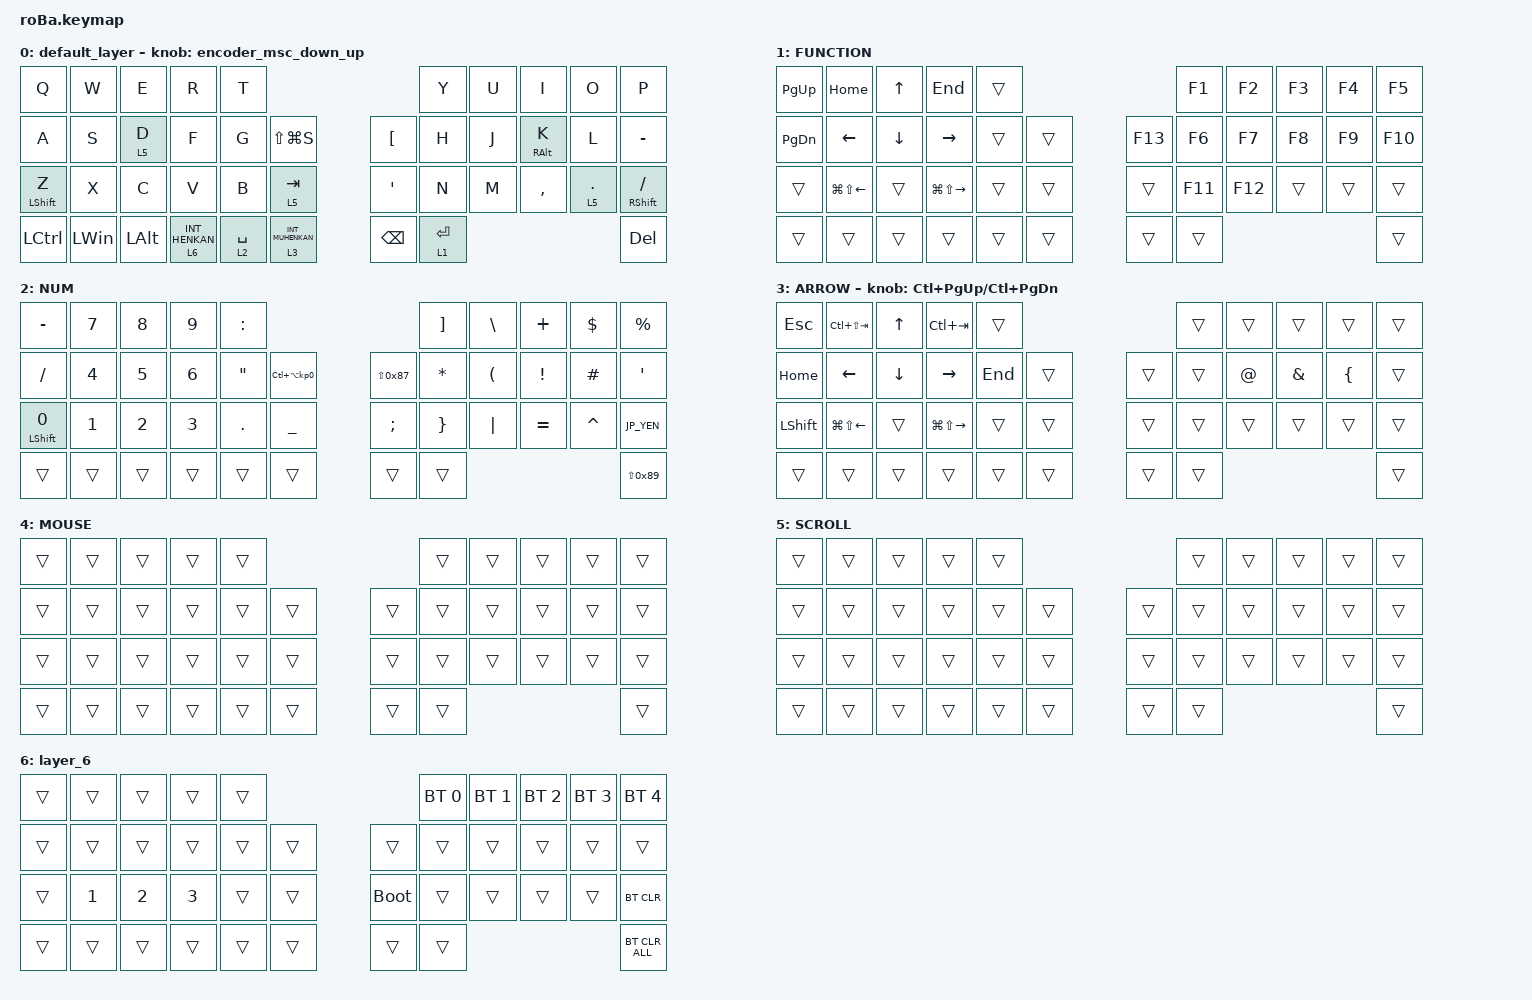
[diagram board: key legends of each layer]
#include <behaviors.dtsi>
#include <dt-bindings/zmk/bt.h>
#include <dt-bindings/zmk/keys.h>
#include <dt-bindings/zmk/pointing.h>

// JPキーボードの設定で利用するためのキー変換

#define JP_DQUOTE       AT                // "
#define JP_AMPERSAND    CARET             // &
#define JP_QUOTE        AMPERSAND         // '
#define JP_EQUAL        UNDER             // =
#define JP_CARET        EQUAL             // ^
#define JP_YEN          0x89              // ¥
#define JP_PLUS         COLON             // +
#define JP_TILDE        PLUS              // ~
#define JP_PIPE         LS(0x89)          // |
#define JP_AT           LEFT_BRACKET      // @
#define JP_COLON        SINGLE_QUOTE      // :
#define JP_ASTERISK     DOUBLE_QUOTES     // *
#define JP_BACKQUOTE    LEFT_BRACE        // `
#define JP_UNDERSCORE   LS(0x87)          // _
#define JP_LBRACKET     RIGHT_BRACKET     // [
#define JP_RBRACKET     BACKSLASH         // ]
#define JP_LPAREN       ASTERISK          // (
#define JP_RPAREN       LEFT_PARENTHESIS  // )
#define JP_LBRACE       RIGHT_BRACE       // {
#define JP_RBRACE       PIPE              // }
#define JP_KANA         LANGUAGE_1        // かな
#define JP_EISU         LANGUAGE_2        // 英数
#define JP_HANZEN       GRAVE             // 半角/全角

// ロータリーエンコーダでスクロール；スクロール量変更の定義を追記

#define ZMK_POINTING_DEFAULT_SCRL_VAL 80

&mt {
    flavor = "balanced";
    quick-tap-ms = <0>;
};

&trackball {
    automouse-layer = <4>;
    scroll-layers = <5>;

    // arrows {
    //     layers = <3>;
    //     bindings =
    //         <&kp RIGHT_ARROW>,
    //         <&kp LEFT_ARROW>,
    //         <&kp UP_ARROW>,
    //         <&kp DOWN_ARROW>;
    //     tick = <10>;
    //     wait-ms = <5>;
    //     tap-ms = <5>;
    // };
};

/ {
    combos {
        compatible = "zmk,combos";

        tab {
            bindings = <&kp TAB>;
            key-positions = <13 12>;
        };

        shift_tab {
            bindings = <&kp LA(TAB)>;
            key-positions = <12 11 13>;
        };

        muhennkann {
            bindings = <&to_layer_0 INT_MUHENKAN>;
            key-positions = <12 13>;
        };

        eq {
            bindings = <&kp EQUAL>;
            key-positions = <24 25>;
        };

        esc {
            bindings = <&kp ESC>;
            key-positions = <0 1>;
        };

        f10 {
            bindings = <&kp F10>;
            key-positions = <20 21>;
        };

        f9 {
            bindings = <&kp F9>;
            key-positions = <8 9>;
        };

        f2 {
            bindings = <&kp F2>;
            key-positions = <32 33>;
        };

        MB1_LeftClick {
            bindings = <&mkp MB1>;
            key-positions = <19 18>;
        };

        MB2_RightClick {
            bindings = <&mkp MB2>;
            key-positions = <19 20>;
        };

        MB3_MiddleClick {
            bindings = <&mkp MB3>;
            key-positions = <18 20>;
        };
    };

    macros {
        to_layer_0: to_layer_0 {
            compatible = "zmk,behavior-macro-one-param";
            #binding-cells = <1>;
            bindings = <&to 0 &macro_param_1to1 &kp MACRO_PLACEHOLDER>;
            label = "TO_LAYER_0";
        };
    };

    behaviors {
        lt_to_layer_0: lt_to_layer_0 {
            compatible = "zmk,behavior-hold-tap";
            label = "LAYER_TAP_TO_0";
            bindings = <&mo>, <&to_layer_0>;

            #binding-cells = <2>;
            tapping-term-ms = <200>;
        };

        //ロータリーエンコーダでスクロール；スクロール動作の定義；スクロール方向を逆にしたい場合は <&msc SCRL_DOWN> と <&msc SCRL_UP> を入れ替え

        encoder_msc_down_up: encoder_msc_down_up {
            compatible = "zmk,behavior-sensor-rotate";
            label = "ENCODER_MSC_DOWN_UP";
            #sensor-binding-cells = <0>;
            bindings = <&msc SCRL_DOWN>, <&msc SCRL_UP>;

            tap-ms = <20>;
        };
    };

    keymap {
        compatible = "zmk,keymap";

        default_layer {
            bindings = <
&kp Q             &kp W         &kp E         &kp R                        &kp T                                                          &kp Y        &kp U  &kp I            &kp O      &kp P
&kp A             &kp S         &lt 5 D       &kp F                        &kp G        &kp LS(LG(S))                      &kp JP_AT      &kp H        &kp J  &mt RIGHT_ALT K  &kp L      &kp MINUS
&mt LEFT_SHIFT Z  &kp X         &kp C         &kp V                        &kp B        &lt 5 TAB                          &kp JP_COLON   &kp N        &kp M  &kp COMMA        &lt 5 DOT  &mt RIGHT_SHIFT SLASH
&kp LCTRL         &kp LEFT_WIN  &kp LEFT_ALT  &lt_to_layer_0 6 INT_HENKAN  &lt 2 SPACE  &lt_to_layer_0 3 INT_MUHENKAN      &kp BACKSPACE  &lt 1 ENTER                                     &kp DEL
            >;

            //元から定義されていたロータリーエンコーダでPG_UP/DWNをコメントアウト
            //sensor-bindings = <&inc_dec_kp PG_UP PAGE_DOWN>;
            //ロータリーエンコーダでスクロール；レイヤへ配置

            sensor-bindings = <&encoder_msc_down_up>;
        };

        FUNCTION {
            bindings = <
&kp PAGE_UP    &kp HOME                &kp UP_ARROW    &kp END                  &trans                       &kp F1   &kp F2   &kp F3  &kp F4  &kp F5
&kp PAGE_DOWN  &kp LEFT_ARROW          &kp DOWN_ARROW  &kp RIGHT_ARROW          &trans  &trans      &kp F13  &kp F6   &kp F7   &kp F8  &kp F9  &kp F10
&trans         &kp LG(LS(LEFT_ARROW))  &trans          &kp LG(LS(RIGHT_ARROW))  &trans  &trans      &trans   &kp F11  &kp F12  &trans  &trans  &trans
&trans         &trans                  &trans          &trans                   &trans  &trans      &trans   &trans                            &trans
            >;
        };

        NUM {
            //一部を無理やりJP配列コードに置き換え

            bindings = <
&kp MINUS          &kp N7        &kp N8        &kp N9        &kp COLON                                                          &kp RIGHT_BRACKET  &kp BACKSLASH         &kp PLUS         &kp DOLLAR  &kp PERCENT
&kp SLASH          &kp NUMBER_4  &kp N5        &kp NUMBER_6  &kp DOUBLE_QUOTES  &kp LC(LA(KP_NUMBER_0))      &kp JP_UNDERSCORE  &kp ASTERISK       &kp LEFT_PARENTHESIS  &kp EXCLAMATION  &kp HASH    &kp SQT
&mt LEFT_SHIFT N0  &kp NUMBER_1  &kp NUMBER_2  &kp NUMBER_3  &kp PERIOD         &kp UNDER                    &kp SEMICOLON      &kp RIGHT_BRACE    &kp PIPE              &kp EQUAL        &kp CARET   &kp JP_YEN
&trans             &trans        &trans        &trans        &trans             &trans                       &trans             &trans                                                                &kp JP_PIPE
            >;
        };

        ARROW {
            //一部を無理やりJP配列コードに置き換え

            bindings = <
&kp ESCAPE      &kp LC(LS(TAB))         &kp UP_ARROW    &kp LC(TAB)              &trans                       &trans  &trans         &trans        &trans            &trans
&kp HOME        &kp LEFT_ARROW          &kp DOWN_ARROW  &kp RIGHT_ARROW          &kp END  &trans      &trans  &trans  &kp JP_DQUOTE  &kp JP_QUOTE  &kp JP_BACKQUOTE  &trans
&kp LEFT_SHIFT  &kp LG(LS(LEFT_ARROW))  &trans          &kp LG(LS(RIGHT_ARROW))  &trans   &trans      &trans  &trans  &trans         &trans        &trans            &trans
&trans          &trans                  &trans          &trans                   &trans   &trans      &trans  &trans                                                 &trans
            >;

            sensor-bindings = <&inc_dec_kp LC(PAGE_UP) LC(PAGE_DOWN)>;
        };

        MOUSE {
            bindings = <
&trans  &trans  &trans  &trans  &trans                      &trans  &trans  &trans  &trans  &trans
&trans  &trans  &trans  &trans  &trans  &trans      &trans  &trans  &trans  &trans  &trans  &trans
&trans  &trans  &trans  &trans  &trans  &trans      &trans  &trans  &trans  &trans  &trans  &trans
&trans  &trans  &trans  &trans  &trans  &trans      &trans  &trans                          &trans
            >;
        };

        SCROLL {
            bindings = <
&trans  &trans  &trans  &trans  &trans                      &trans  &trans  &trans  &trans  &trans
&trans  &trans  &trans  &trans  &trans  &trans      &trans  &trans  &trans  &trans  &trans  &trans
&trans  &trans  &trans  &trans  &trans  &trans      &trans  &trans  &trans  &trans  &trans  &trans
&trans  &trans  &trans  &trans  &trans  &trans      &trans  &trans                          &trans
            >;
        };

        layer_6 {
            bindings = <
&trans  &trans        &trans        &trans        &trans                           &bt BT_SEL 0  &bt BT_SEL 1  &bt BT_SEL 2  &bt BT_SEL 3  &bt BT_SEL 4
&trans  &trans        &trans        &trans        &trans  &trans      &trans       &trans        &trans        &trans        &trans        &trans
&trans  &kp NUMBER_1  &kp NUMBER_2  &kp NUMBER_3  &trans  &trans      &bootloader  &trans        &trans        &trans        &trans        &bt BT_CLR
&trans  &trans        &trans        &trans        &trans  &trans      &trans       &trans                                                  &bt BT_CLR_ALL
            >;
        };
    };
};
